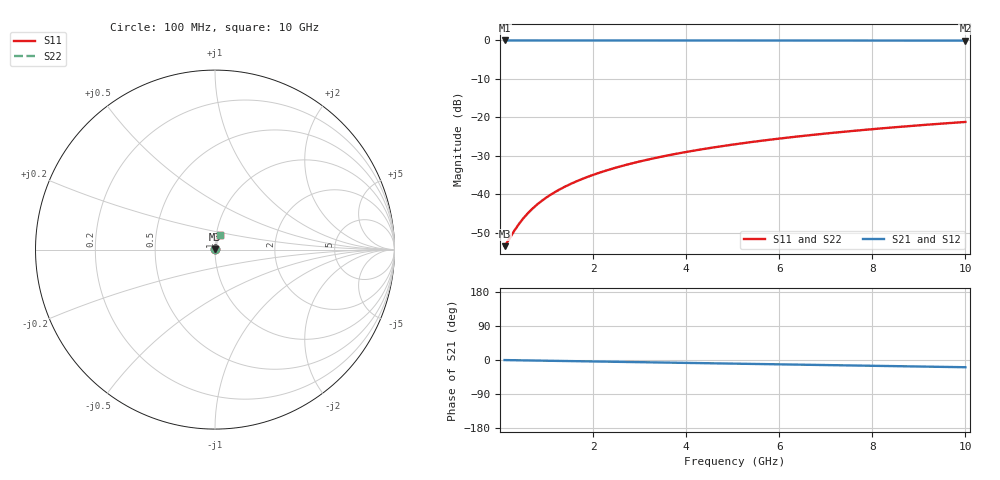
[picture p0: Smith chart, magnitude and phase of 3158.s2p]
# Hz S RI R 50.00
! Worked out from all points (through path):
!   100 points, 100 MHz to 10 GHz, reference 50 ohm
!   highest |S21| = -0.02 dB at 100 MHz (marker M1); lowest = -0.1 dB at 10 GHz (marker M2)
!   group delay of S21, straight-line fit = 5.3 ps
!   lowest |S11| = -53.5 dB at 100 MHz (marker M3), VSWR 1.00, Z = 50.2 + j0.0884 ohm
!   |S11| at or under -10 dB: start of sweep to end of sweep
!   |S22| runs from -53.5 to -21.2 dB; largest |S21 - S12| = 0
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1e8  0.00192 0.000881  0.9981 -0.00332  0.9981 -0.00332  0.00192 0.000881
3e8  0.00196 0.00264  0.998 -0.00996  0.998 -0.00996  0.00196 0.00264
4e8  0.00199 0.00352  0.998 -0.0133  0.998 -0.0133  0.00199 0.00352
5e8  0.00202 0.0044  0.9979 -0.0166  0.9979 -0.0166  0.00202 0.0044
6e8  0.00206 0.00528  0.9978 -0.0199  0.9978 -0.0199  0.00206 0.00528
7e8  0.0021 0.00616  0.9977 -0.0232  0.9977 -0.0232  0.0021 0.00616
8e8  0.00215 0.00704  0.9976 -0.0265  0.9976 -0.0265  0.00215 0.00704
1e9  0.00226 0.0088  0.9974 -0.0332  0.9974 -0.0332  0.00226 0.0088
1.2e9  0.0024 0.0106  0.9971 -0.0398  0.9971 -0.0398  0.0024 0.0106
1.5e9  0.00264 0.0132  0.9967 -0.0498  0.9967 -0.0498  0.00264 0.0132
1.8e9  0.00294 0.0158  0.9961 -0.0597  0.9961 -0.0597  0.00294 0.0158
2.1e9  0.00328 0.0184  0.9954 -0.0696  0.9954 -0.0696  0.00328 0.0184
2.5e9  0.00383 0.0219  0.9943 -0.0829  0.9943 -0.0829  0.00383 0.0219
2.9e9  0.00446 0.0254  0.993 -0.0961  0.993 -0.0961  0.00446 0.0254
3.4e9  0.00539 0.0297  0.9911 -0.1126  0.9911 -0.1126  0.00539 0.0297
4.2e9  0.00716 0.0365  0.9875 -0.1389  0.9875 -0.1389  0.00716 0.0365
5.1e9  0.00959 0.044  0.9825 -0.1684  0.9825 -0.1684  0.00959 0.044
5.9e9  0.0121 0.0506  0.9773 -0.1945  0.9773 -0.1945  0.0121 0.0506
6.7e9  0.015 0.057  0.9714 -0.2204  0.9714 -0.2204  0.015 0.057
7.5e9  0.0182 0.0632  0.9647 -0.2461  0.9647 -0.2461  0.0182 0.0632
8.4e9  0.0222 0.0701  0.9564 -0.2748  0.9564 -0.2748  0.0222 0.0701
1e10  0.0304 0.0816  0.9393 -0.325  0.9393 -0.325  0.0304 0.0816
